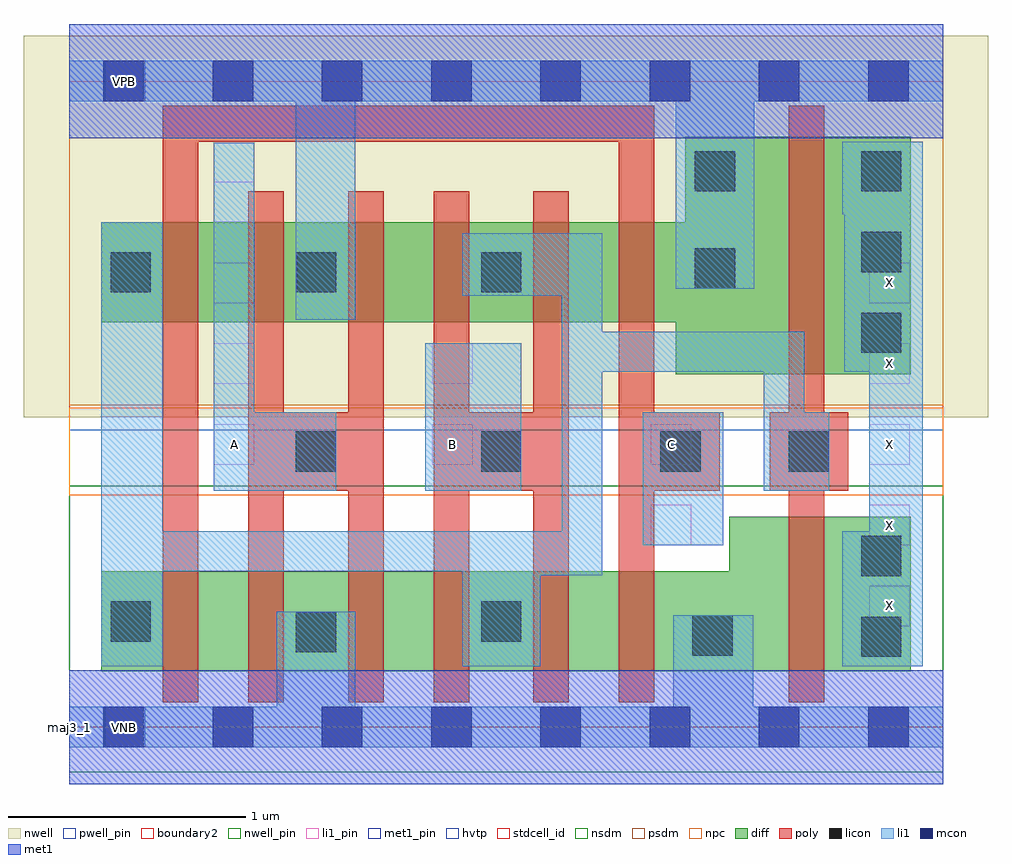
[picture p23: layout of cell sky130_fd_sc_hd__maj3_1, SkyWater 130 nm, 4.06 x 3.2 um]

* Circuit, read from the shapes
.subckt sky130_fd_sc_hd__maj3_1 A B C VGND VNB VPB VPWR X
XM1 n1 C n2 VNB sky130_fd_pr__nfet_01v8 w=0.42 l=0.15
XM2 VGND A n1 VNB sky130_fd_pr__nfet_01v8 w=0.42 l=0.15
XM3 n3 A VGND VNB sky130_fd_pr__nfet_01v8 w=0.42 l=0.15
XM4 n2 B n3 VNB sky130_fd_pr__nfet_01v8 w=0.42 l=0.15
XM5 n4 B n2 VNB sky130_fd_pr__nfet_01v8 w=0.42 l=0.15
XM6 VGND C n4 VNB sky130_fd_pr__nfet_01v8 w=0.42 l=0.15
XM7 X n2 VGND VNB sky130_fd_pr__nfet_01v8 w=0.65 l=0.15
XM8 n5 C n2 VPB sky130_fd_pr__pfet_01v8_hvt w=0.42 l=0.15
XM9 VPWR A n5 VPB sky130_fd_pr__pfet_01v8_hvt w=0.42 l=0.15
XM10 n6 A VPWR VPB sky130_fd_pr__pfet_01v8_hvt w=0.42 l=0.15
XM11 n2 B n6 VPB sky130_fd_pr__pfet_01v8_hvt w=0.42 l=0.15
XM12 n7 B n2 VPB sky130_fd_pr__pfet_01v8_hvt w=0.42 l=0.15
XM13 VPWR C n7 VPB sky130_fd_pr__pfet_01v8_hvt w=0.42 l=0.15
XM14 X n2 VPWR VPB sky130_fd_pr__pfet_01v8_hvt w=1 l=0.15
.ends

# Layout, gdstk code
import gdstk
lib = gdstk.Library(unit=1e-6, precision=1e-09)
def R(c, l, rs):  # rectangles x0, y0, x1, y1
    for r in rs: c.add(gdstk.rectangle(r[:2], r[2:], *l))
def A(c, l, x, y, w, h, nx, ny, dx, dy):  # array of equal rectangles
    R(c, l, [(x+i*dx, y+j*dy, x+i*dx+w, y+j*dy+h) for i in range(nx) for j in range(ny)])
def P(c, l, *ps):  # polygons
    for p in ps: c.add(gdstk.Polygon(p, *l))
nwell_pin = (64, 16)
nwell = (64, 20)
diff = (65, 20)
poly = (66, 20)
licon = (66, 44)
li1_pin = (67, 16)
li1 = (67, 20)
mcon = (67, 44)
met1_pin = (68, 16)
met1 = (68, 20)
hvtp = (78, 44)
stdcell_id = (81, 4)
nsdm = (93, 44)
psdm = (94, 20)
npc = (95, 20)
pwell_pin = (122, 16)
boundary2 = (236, 0)

sky130_fd_sc_hd__maj3_1 = lib.new_cell('sky130_fd_sc_hd__maj3_1')
R(sky130_fd_sc_hd__maj3_1, nwell_pin, [(0.15,2.635,0.32,2.805)])
R(sky130_fd_sc_hd__maj3_1, nwell, [(-0.19,1.305,3.87,2.91)])
P(sky130_fd_sc_hd__maj3_1, diff, [(3.545,0.885),(2.78,0.885),(2.78,0.655),(0.135,0.655),(0.135,0.235),(3.545,0.235)],
  [(3.545,2.485),(2.595,2.485),(2.595,2.125),(0.135,2.125),(0.135,1.705),(2.555,1.705),(2.555,1.485),(3.545,1.485)])
P(sky130_fd_sc_hd__maj3_1, poly, [(3.28,1.325),(3.18,1.325),(3.18,2.615),(3.03,2.615),(3.03,1.325),(2.95,1.325),(2.95,0.995),(3.03,0.995),(3.03,0.105),(3.18,0.105),(3.18,0.995),(3.28,0.995)],
  [(2.74,1.325),(2.465,1.325),(2.465,2.615),(0.395,2.615),(0.395,0.105),(0.545,0.105),(0.545,2.465),(2.315,2.465),(2.315,0.105),(2.465,0.105),(2.465,0.995),(2.74,0.995)],
  [(2.105,2.255),(1.955,2.255),(1.955,1.325),(1.685,1.325),(1.685,2.255),(1.535,2.255),(1.535,0.105),(1.685,0.105),(1.685,0.995),(1.955,0.995),(1.955,0.105),(2.105,0.105)],
  [(1.325,2.255),(1.175,2.255),(1.175,1.325),(0.905,1.325),(0.905,2.255),(0.755,2.255),(0.755,0.105),(0.905,0.105),(0.905,0.995),(1.175,0.995),(1.175,0.105),(1.325,0.105)])
A(sky130_fd_sc_hd__maj3_1, licon, 3.335, 1.575, 0.17, 0.17, 1, 3, 0, 0.34)
A(sky130_fd_sc_hd__maj3_1, licon, 0.175, 1.83, 0.17, 0.17, 3, 1, 0.78, 0)
R(sky130_fd_sc_hd__maj3_1, licon, [(3.335,0.295,3.505,0.465), (2.625,0.3,2.795,0.47), (0.955,0.315,1.125,0.485), (0.175,0.36,0.345,0.53), (1.735,0.36,1.905,0.53), (3.335,0.635,3.505,0.805), (0.955,1.075,1.125,1.245), (1.735,1.075,1.905,1.245), (2.49,1.075,2.66,1.245), (3.03,1.075,3.2,1.245), (2.635,1.845,2.805,2.015), (2.635,2.255,2.805,2.425)])
A(sky130_fd_sc_hd__maj3_1, li1_pin, 0.61, 1.105, 0.17, 0.17, 4, 1, 0.92, 0)
A(sky130_fd_sc_hd__maj3_1, li1_pin, 0.61, 1.445, 0.17, 0.17, 1, 3, 0, 0.34)
R(sky130_fd_sc_hd__maj3_1, li1_pin, [(3.37,0.425,3.54,0.595), (2.45,0.765,2.62,0.935), (3.37,0.765,3.54,0.935), (1.53,1.445,1.7,1.615), (3.37,1.445,3.54,1.615), (3.37,1.785,3.54,1.955)])
R(sky130_fd_sc_hd__maj3_1, li1, [(2.415,0.765,2.755,1.325), (1.5,0.995,1.905,1.615)])
P(sky130_fd_sc_hd__maj3_1, li1, [(3.68,2.805),(0,2.805),(0,2.635),(0.955,2.635),(0.955,1.715),(1.205,1.715),(1.205,2.635),(2.555,2.635),(2.555,1.845),(2.885,1.845),(2.885,2.635),(3.68,2.635)],
  [(3.595,2.465),(3.255,2.465),(3.255,2.16),(3.265,2.16),(3.265,1.495),(3.37,1.495),(3.37,0.825),(3.255,0.825),(3.255,0.255),(3.595,0.255)],
  [(3.68,0.085),(2.88,0.085),(2.88,0.47),(2.545,0.47),(2.545,0.085),(1.205,0.085),(1.205,0.485),(0.875,0.485),(0.875,0.085),(0,0.085),(0,-0.085),(3.68,-0.085)],
  [(1.125,1.325),(0.78,1.325),(0.78,2.46),(0.61,2.46),(0.61,0.995),(1.125,0.995)],
  [(3.2,1.325),(3.095,1.325),(3.095,1.665),(2.245,1.665),(2.245,2.08),(1.655,2.08),(1.655,1.815),(2.075,1.815),(2.075,0.825),(0.395,0.825),(0.395,2.125),(0.135,2.125),(0.135,0.255),(0.395,0.255),(0.395,0.655),(1.655,0.655),(1.655,0.255),(1.985,0.255),(1.985,0.64),(2.245,0.64),(2.245,1.495),(2.925,1.495),(2.925,0.995),(3.2,0.995)])
A(sky130_fd_sc_hd__maj3_1, mcon, 0.145, -0.085, 0.17, 0.17, 8, 2, 0.46, 2.72)
R(sky130_fd_sc_hd__maj3_1, met1_pin, [(0.15,-0.085,0.32,0.085), (0.15,2.635,0.32,2.805)])
R(sky130_fd_sc_hd__maj3_1, hvtp, [(0,1.25,3.68,2.72)])
R(sky130_fd_sc_hd__maj3_1, stdcell_id, [(0,0,3.68,2.72)])
R(sky130_fd_sc_hd__maj3_1, nsdm, [(0,-0.19,3.68,1.015)])
R(sky130_fd_sc_hd__maj3_1, psdm, [(0,1.355,3.68,2.91)])
R(sky130_fd_sc_hd__maj3_1, npc, [(0,0.975,3.68,1.345)])
R(sky130_fd_sc_hd__maj3_1, pwell_pin, [(0.15,-0.085,0.32,0.085)])
R(sky130_fd_sc_hd__maj3_1, boundary2, [(0,0,3.68,2.72)])
sky130_fd_sc_hd__maj3_1.add(gdstk.FlexPath([(0,2.72),(3.68,2.72)], 0.48, ends="flush", simple_path=True, layer=68, datatype=20))  # met1
sky130_fd_sc_hd__maj3_1.add(gdstk.FlexPath([(0,0),(3.68,0)], 0.48, ends="flush", simple_path=True, layer=68, datatype=20))  # met1
sky130_fd_sc_hd__maj3_1.add(gdstk.Label('C', (2.535,1.19), layer=67, texttype=5))
sky130_fd_sc_hd__maj3_1.add(gdstk.Label('X', (3.455,0.51), layer=67, texttype=5))
sky130_fd_sc_hd__maj3_1.add(gdstk.Label('X', (3.455,0.85), layer=67, texttype=5))
sky130_fd_sc_hd__maj3_1.add(gdstk.Label('X', (3.455,1.19), layer=67, texttype=5))
sky130_fd_sc_hd__maj3_1.add(gdstk.Label('X', (3.455,1.53), layer=67, texttype=5))
sky130_fd_sc_hd__maj3_1.add(gdstk.Label('B', (1.615,1.19), layer=67, texttype=5))
sky130_fd_sc_hd__maj3_1.add(gdstk.Label('A', (0.695,1.19), layer=67, texttype=5))
sky130_fd_sc_hd__maj3_1.add(gdstk.Label('X', (3.455,1.87), layer=67, texttype=5))
sky130_fd_sc_hd__maj3_1.add(gdstk.Label('VPB', (0.235,2.72), layer=64, texttype=5))
sky130_fd_sc_hd__maj3_1.add(gdstk.Label('VNB', (0.235,0), layer=64, texttype=59))
sky130_fd_sc_hd__maj3_1.add(gdstk.Label('VGND', (0.23,0), layer=68, texttype=5))
sky130_fd_sc_hd__maj3_1.add(gdstk.Label('VPWR', (0.23,2.72), layer=68, texttype=5))
sky130_fd_sc_hd__maj3_1.add(gdstk.Label('maj3_1', (0,0), layer=83, texttype=44))

lib.write_gds('sky130_fd_sc_hd__maj3_1.gds')
